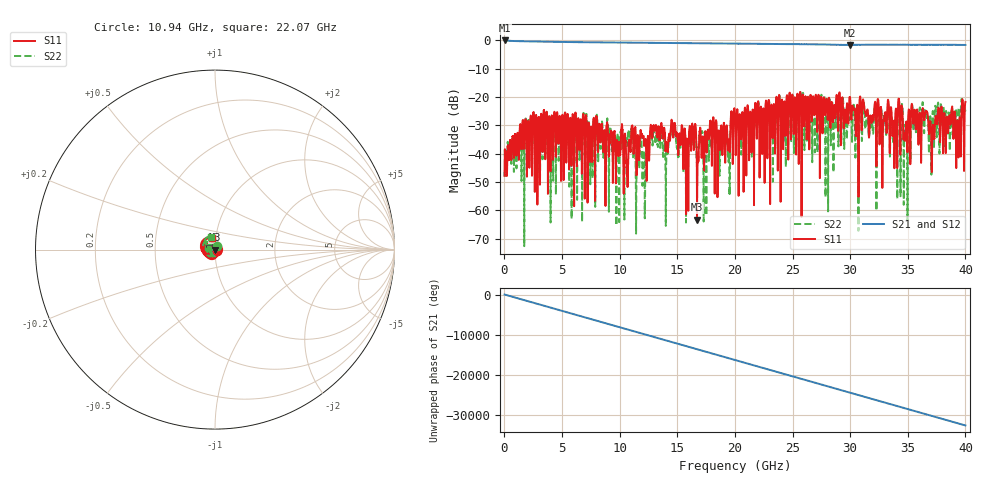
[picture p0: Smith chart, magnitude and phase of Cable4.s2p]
!UUTPORTS:-2,4 CABLE SERIAL NUMBER 09-11-619
! 11/2/2010 1:59:43 PM
! RESWITHCABLESETTEST.S2P
! CHANNEL.1
! TR.MEASUREMENT
! CORRECTED.DATA
# GHZ S RI R 50.0
! FREQ.GHZ  S11RE  S11M  S21RE  S21M  S12RE  S12M  S22RE  S22M
!; PortSelection: Port_12
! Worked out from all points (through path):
!   7999 points, 10 MHz to 40 GHz, reference 50 ohm
!   highest |S21| = 0.00 dB at 10 MHz (marker M1); lowest = -1.6 dB at 29.98 GHz (marker M2)
!   group delay of S21, straight-line fit = 2.26 ns
!   lowest |S11| = -63.2 dB at 16.71 GHz (marker M3), VSWR 1.00, Z = 49.9 + j0.00162 ohm
!   |S11| at or under -10 dB: start of sweep to end of sweep
!   |S22| runs from -72.6 to -18.2 dB; largest |S21 - S12| = 0.0089
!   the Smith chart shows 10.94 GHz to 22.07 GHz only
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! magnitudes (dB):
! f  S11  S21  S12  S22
! 10 MHz  -47.8  0.0  0.0  -48.2
! 2.4 GHz  -41.4  -0.4  -0.4  -37.3
! 6.675 GHz  -32.5  -0.6  -0.6  -30.1
! 9.835 GHz  -39.2  -0.8  -0.8  -33.7
! 10.89 GHz  -38.4  -0.8  -0.8  -33.8
! 11.31 GHz  -31.3  -0.8  -0.8  -37.8
! 12.13 GHz  -36.6  -0.9  -0.9  -43.0
! 12.6 GHz  -36.2  -0.9  -0.9  -35.3
! 13.34 GHz  -30.5  -0.9  -0.9  -35.6
! 16.44 GHz  -37.7  -1.0  -1.0  -34.7
! 16.71 GHz  -63.2  -1.0  -1.0  -43.1
! 18.23 GHz  -39.8  -1.1  -1.1  -32.5
! 19.41 GHz  -38.4  -1.1  -1.1  -39.5
! 20 GHz  -27.4  -1.1  -1.1  -27.1
! 26.67 GHz  -27.7  -1.3  -1.3  -25.1
! 29.98 GHz  -20.2  -1.6  -1.6  -24.3
! 33.34 GHz  -22.0  -1.5  -1.5  -23.6
! 34.37 GHz  -33.4  -1.5  -1.5  -55.0
! 34.82 GHz  -30.3  -1.5  -1.5  -30.9
! 35.47 GHz  -29.3  -1.5  -1.5  -29.4
! 37.17 GHz  -31.0  -1.5  -1.5  -24.9
! 40 GHz  -21.7  -1.6  -1.6  -25.0
